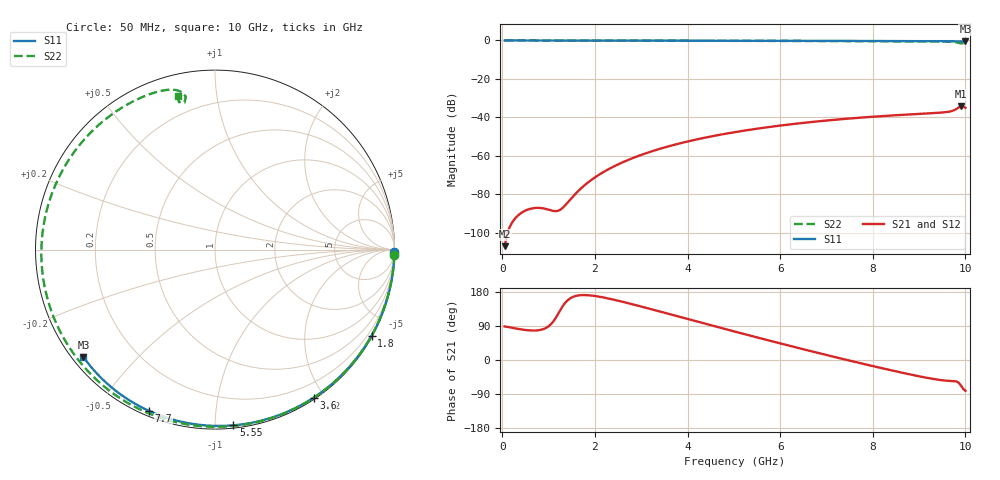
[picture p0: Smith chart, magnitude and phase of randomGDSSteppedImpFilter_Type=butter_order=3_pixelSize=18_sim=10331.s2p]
! freq	dB(S11)	phase(S11)	dB(S12)	phase(S12)
!  dB(S21)	phase(S21)	dB(S22)	phase(S22)
!S-par simulation data
#  GHz  S  DB  R 50
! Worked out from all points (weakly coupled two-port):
!   200 points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, 50 MHz to 10 GHz, reference 50 ohm
!   highest |S21| = -34.23 dB at 9.9 GHz (marker M1); lowest = -107.0 dB at 50 MHz (marker M2)
!   lowest |S11| = -0.5 dB at 10 GHz (marker M3), VSWR 36.72, Z = 1.54 - j17.8 ohm
!   |S11| at or under -10 dB: nowhere
!   |S22| runs from -1.6 to 0.0 dB; largest |S21 - S12| = 0
!   S11 on the Smith chart (normalised r, x): 50 MHz: open; 1.8 GHz: 0.03, -3.88; 3.6 GHz: 0.02, -1.87; 5.55 GHz: 0.02, -1.11; 7.7 GHz: 0.02, -0.67; 10 GHz: 0.03, -0.36
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0.05  -0.00 -0.8  -106.98 88.8  -106.98 88.8  -0.00 -1.7
0.75  -0.02 -12.1  -87.05 78.1  -87.05 78.1  -0.03 -25.5
1.55  -0.03 -24.9  -80.52 167.6  -80.52 167.6  -0.06 -51.7
1.75  -0.04 -28.1  -75.85 171.3  -75.85 171.3  -0.07 -58.0
1.8  -0.04 -28.9  -74.83 171.3  -74.83 171.3  -0.07 -59.5
2.1  -0.04 -33.6  -69.66 166.9  -69.66 166.9  -0.08 -68.7
2.45  -0.05 -39.0  -65.02 158.0  -65.02 158.0  -0.10 -79.0
2.9  -0.06 -45.9  -60.40 144.3  -60.40 144.3  -0.11 -91.8
3.4  -0.07 -53.4  -56.37 128.1  -56.37 128.1  -0.13 -105.3
3.6  -0.08 -56.4  -54.99 121.5  -54.99 121.5  -0.13 -110.5
4.35  -0.10 -67.3  -50.69 96.8  -50.69 96.8  -0.16 -129.2
5.05  -0.12 -77.2  -47.56 74.0  -47.56 74.0  -0.20 -145.7
5.55  -0.14 -84.1  -45.71 58.1  -45.71 58.1  -0.22 -157.1
6.1  -0.16 -91.5  -43.97 40.8  -43.97 40.8  -0.26 -169.4
6.7  -0.19 -99.4  -42.35 22.3  -42.35 22.3  -0.30 177.3
7.7  -0.26 -112.2  -40.20 -7.5  -40.20 -7.5  -0.37 154.9
8.35  -0.31 -120.3  -39.11 -25.9  -39.11 -25.9  -0.42 139.9
8.95  -0.36 -127.8  -38.26 -41.7  -38.26 -41.7  -0.48 125.6
9.5  -0.42 -134.5  -37.46 -53.5  -37.46 -53.5  -0.56 111.4
9.75  -0.45 -137.6  -36.35 -55.5  -36.35 -55.5  -0.77 103.7
9.9  -0.46 -139.4  -34.23 -66.6  -34.23 -66.6  -1.55 101.7
10  -0.47 -140.7  -35.03 -81.3  -35.03 -81.3  -1.11 103.6
